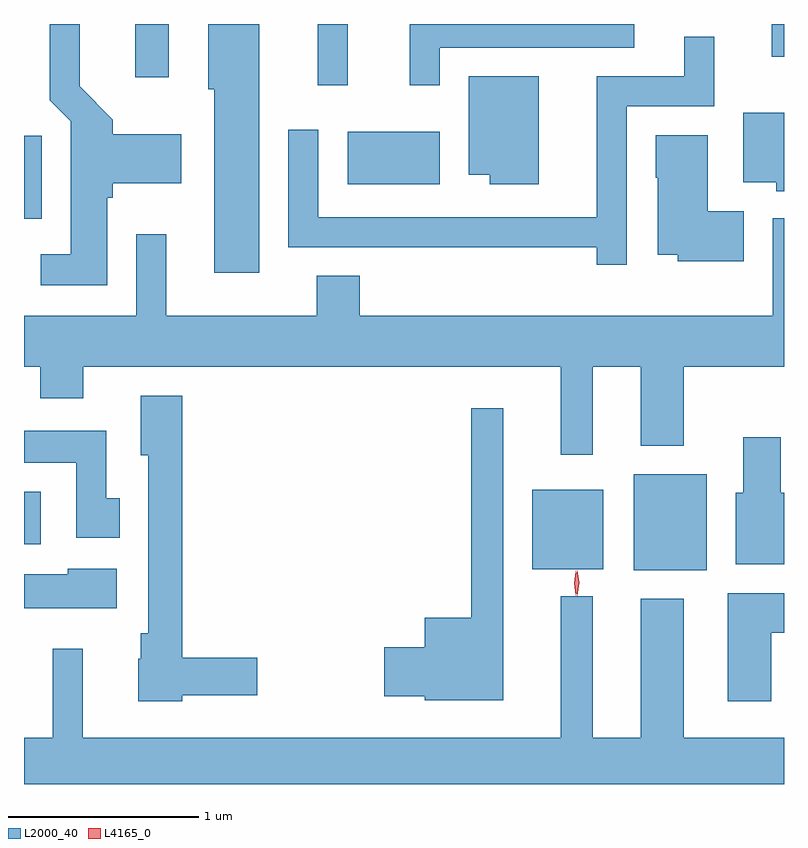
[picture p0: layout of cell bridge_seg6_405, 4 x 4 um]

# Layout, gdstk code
import gdstk
lib = gdstk.Library(unit=1e-6, precision=1e-09)
def R(c, l, rs):  # rectangles x0, y0, x1, y1
    for r in rs: c.add(gdstk.rectangle(r[:2], r[2:], *l))
def P(c, l, *ps):  # polygons
    for p in ps: c.add(gdstk.Polygon(p, *l))
L2000_40 = (2000, 40)
L4165_0 = (4165, 0)

bridge_seg6_405 = lib.new_cell('bridge_seg6_405')
R(bridge_seg6_405, L2000_40, [(909.406,1608.906,909.789,1609.409), (908.871,1608.911,909.244,1609.329), (906.196,1609.041,906.284,1609.319), (906.196,1610.756,906.289,1611.193), (907.901,1610.936,908.384,1611.214), (907.741,1611.458,907.899,1611.78), (906.781,1611.501,906.959,1611.78), (910.131,1611.608,910.196,1611.78)])
P(bridge_seg6_405, L2000_40, [(906.634,1610.866),(906.664,1610.866),(906.664,1610.941),(907.024,1610.941),(907.024,1611.199),(906.664,1611.199),(906.664,1611.277),(906.489,1611.452),(906.489,1611.78),(906.331,1611.78),(906.331,1611.379),(906.441,1611.269),(906.441,1610.569),(906.283,1610.569),(906.283,1610.406),(906.634,1610.406)],
  [(908.384,1611.656),(909.409,1611.656),(909.409,1611.78),(908.226,1611.78),(908.226,1611.458),(908.384,1611.458)],
  [(907.434,1611.78),(907.166,1611.78),(907.166,1611.436),(907.196,1611.436),(907.196,1610.471),(907.434,1610.471)],
  [(909.369,1611.346),(909.829,1611.346),(909.829,1611.713),(909.671,1611.713),(909.671,1611.504),(909.211,1611.504),(909.211,1610.764),(907.744,1610.764),(907.744,1611.223),(907.586,1611.223),(907.586,1610.606),(909.211,1610.606),(909.211,1610.513),(909.369,1610.513)],
  [(908.904,1611.504),(908.536,1611.504),(908.536,1610.986),(908.646,1610.986),(908.646,1610.936),(908.904,1610.936)],
  [(910.196,1611.314),(909.981,1611.314),(909.981,1610.946),(910.156,1610.946),(910.156,1610.901),(910.196,1610.901)],
  [(909.984,1610.794),(909.794,1610.794),(909.794,1611.194),(909.521,1611.194),(909.521,1610.97),(909.531,1610.97),(909.531,1610.566),(909.636,1610.566),(909.636,1610.531),(909.984,1610.531)],
  [(909.189,1609.976),(909.441,1609.976),(909.441,1609.561),(909.669,1609.561),(909.669,1609.976),(910.196,1609.976),(910.196,1610.758),(910.136,1610.758),(910.136,1610.244),(907.964,1610.244),(907.964,1610.454),(907.736,1610.454),(907.736,1610.244),(906.944,1610.244),(906.944,1610.673),(906.786,1610.673),(906.786,1610.244),(906.196,1610.244),(906.196,1609.976),(906.281,1609.976),(906.281,1609.811),(906.509,1609.811),(906.509,1609.976),(909.021,1609.976),(909.021,1609.513),(909.189,1609.513)],
  [(907.029,1608.246),(907.424,1608.246),(907.424,1608.444),(907.029,1608.444),(907.029,1609.824),(906.811,1609.824),(906.811,1609.511),(906.851,1609.511),(906.851,1608.574),(906.811,1608.574),(906.811,1608.44),(906.796,1608.44),(906.796,1608.216),(907.029,1608.216)],
  [(908.719,1609.758),(908.551,1609.758),(908.551,1608.654),(908.306,1608.654),(908.306,1608.499),(908.091,1608.499),(908.091,1608.241),(908.306,1608.241),(908.306,1608.221),(908.719,1608.221)],
  [(906.699,1609.284),(906.629,1609.284),(906.629,1609.639),(906.196,1609.639),(906.196,1609.471),(906.471,1609.471),(906.471,1609.076),(906.699,1609.076)],
  [(910.196,1609.314),(910.179,1609.314),(910.179,1609.604),(909.981,1609.604),(909.981,1609.314),(909.941,1609.314),(909.941,1608.936),(910.196,1608.936)],
  [(906.684,1608.914),(906.426,1608.914),(906.426,1608.884),(906.196,1608.884),(906.196,1608.706),(906.684,1608.706)],
  [(910.129,1608.576),(910.196,1608.576),(910.196,1608.784),(909.901,1608.784),(909.901,1608.216),(910.129,1608.216)],
  [(910.196,1608.024),(909.669,1608.024),(909.669,1608.754),(909.441,1608.754),(909.441,1608.024),(909.189,1608.024),(909.189,1608.768),(909.021,1608.768),(909.021,1608.024),(906.504,1608.024),(906.504,1608.493),(906.346,1608.493),(906.346,1608.024),(906.196,1608.024),(906.196,1607.78),(910.196,1607.78)])
P(bridge_seg6_405, L4165_0, [(909.108,1608.77),(909.108,1608.77),(909.098,1608.838),(909.108,1608.906),(909.108,1608.906),(909.109,1608.906),(909.118,1608.838),(909.109,1608.77)],
  [(909.1,1608.773),(909.091,1608.837),(909.1,1608.901),(909.1,1608.902),(909.101,1608.901),(909.11,1608.837),(909.101,1608.773),(909.101,1608.773)])

lib.write_gds('bridge_seg6_405.gds')
